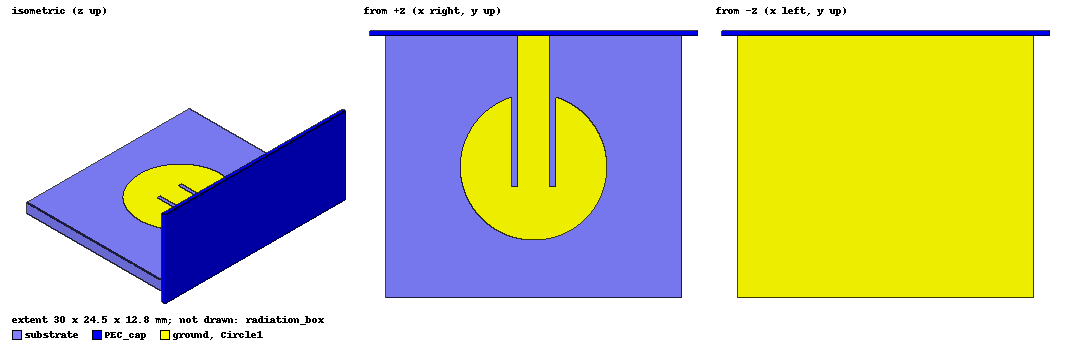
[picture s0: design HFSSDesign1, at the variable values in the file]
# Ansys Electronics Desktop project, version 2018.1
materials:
  vacuum: permittivity=1
  Rogers RT/duroid 5880 (tm): permittivity=2.2 dielectric_loss_tangent=0.0009
  Alumina Ceamic: permittivity=9.9 dielectric_loss_tangent=0.0001
  pec: conductivity=1e+30
  FR4_epoxy: permittivity=4.4 dielectric_loss_tangent=0.02
  Zirconia: permittivity=23 dielectric_loss_tangent=0.0013

design HFSSDesign1 (HFSS, DrivenModal, model units mm)
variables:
  SL = 27mm
  SW = 24mm
  SH = 1.6mm
  MW = 3
  M = 3mm
  L = 6.3mm
  rad = 10mm  # optimise 5mm..15mm
  h = 10mm
  patch_rad = 6.7mm
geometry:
  substrate [FR4_epoxy] = box(corner=(-SL/2, -SW/2, 0mm), size=(SL, SW, SH))
  ground = rectangle(corner=(-SL/2, -SW/2, 0mm), x_size=SL, y_size=SW)
  coordinate_system RelativeCS1 = origin=(0mm, SW/2, SH) x=(1mm, 0mm, 0mm) y=(0mm, 1mm, 0mm)
  coordinate_system RelativeCS2 = origin=(0mm, -SW/2, 0mm) x=(1mm, 0mm, 0mm) y=(0mm, 1mm, 0mm) in RelativeCS1
  radiation_box [vacuum] = box(corner=(-60mm, -60mm, -10mm), size=(120mm, 120mm, 50mm)) in RelativeCS2
  port = rectangle(corner=(-5*M, 0mm, -SH), z_size=8*SH, x_size=10*M) in RelativeCS1
  PEC_cap [pec] = box(corner=(-5*M, 0mm, -SH), size=(10*M, 0.5mm, 8*SH)) in RelativeCS1
  coordinate_system RelativeCS3 = origin=(0mm, -9mm, 0mm) x=(1mm, 0mm, 0mm) y=(0mm, 1mm, 0mm) in RelativeCS1
  coordinate_system RelativeCS4 = origin=(-1.5mm, -6.2mm, 0mm) x=(1mm, 0mm, 0mm) y=(0mm, 1mm, 0mm) in RelativeCS3
  coordinate_system RelativeCS5 = origin=(3mm, 0mm, 0mm) x=(1mm, 0mm, 0mm) y=(0mm, 1mm, 0mm) in RelativeCS4
  coordinate_system RelativeCS6 = origin=(-1.5mm, -20.58675mm, 0mm) x=(1mm, 0mm, 0mm) y=(0mm, 1mm, 0mm) in RelativeCS1
  Circle1 = circle(normal=Z, centre=(0mm, 0mm, 1.6mm), radius=patch_rad)
  Rectangle1 = rectangle(corner=(-M/2, 0mm, 0mm), x_size=M, y_size=-L) in RelativeCS1
  Circle1.unite(Rectangle1)
  Rectangle2 = rectangle(corner=(-1.5mm, -5.33675mm, 0mm), x_size=-0.5mm, y_size=-8.5mm) in RelativeCS1
  Rectangle3 = rectangle(corner=(-1.5mm, -5.33675mm, 0mm), x_size=-0.5mm, y_size=-8.5mm) in RelativeCS1
  Rectangle3_1 = Rectangle3.duplicate_mirror(point=(0mm, -5.4mm, 0mm), normal=(1mm, 0mm, 0mm)) in RelativeCS1
  Circle1.subtract(Rectangle2, Rectangle3)
  Circle1.subtract(Rectangle3_1)
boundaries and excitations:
  PerfE1: Perfect E Objects=ground
  Rad1: Radiation Objects=radiation_box
  PerfE2: Perfect E Objects=Circle1
  1: Wave Port Objects=port NumModes=1 Modes{Mode1{CharImp=Zpi RenormImp=50ohm}}
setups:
  Setup1: HfssDriven Frequency=5.8GHz MaxDeltaS=0.02 MaximumPasses=20 MinimumPasses=2 MinimumConvergedPasses=2 PercentRefinement=30 BasisOrder=1 PortAccuracy=2
    sweep Sweep: 5GHz to 6GHz, 451 points; Type=Discrete SaveFields
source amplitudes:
  1:1: 1W 0deg
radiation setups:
  Infinite Sphere1: Infinite Sphere Theta=-180deg..180deg step 2deg Phi=0deg..360deg step 2deg
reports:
  S11 Parameter: dB(S(1,1)) vs Freq on Setup1 : Sweep; markers m2 at 5.8266667GHz
  VSWR: VSWR(1) vs Freq on Setup1 : Sweep
  Peak Realized Gain: dB(PeakRealizedGain) vs Freq on Setup1 : Sweep
  3D Polar Directivity: dB(DirTotal) vs Phi, Theta on Setup1 : Sweep, Infinite Sphere1 [Freq=5.82667GHz]
  Directivity Plot 1: DirTotal vs Theta on Setup1 : Sweep, Infinite Sphere1 [Phi=0deg,90deg Freq=5.82667GHz]
  Radiation Efficiency: RadiationEfficiency vs Freq on Setup1 : Sweep
